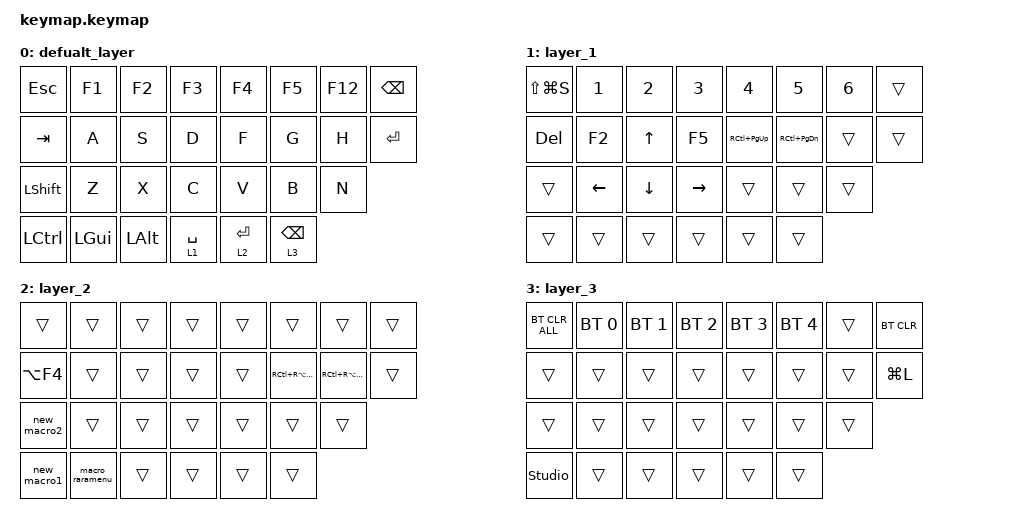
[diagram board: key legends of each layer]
#include <behaviors.dtsi>
#include <dt-bindings/zmk/bt.h>
#include <dt-bindings/zmk/keys.h>

/ {
    keymap {
        compatible = "zmk,keymap";

        defualt_layer {
            bindings = <
&kp ESCAPE        &kp F1        &kp F2        &kp F3       &kp F4       &kp F5           &kp F12  &kp BSPC
&kp TAB           &kp A         &kp S         &kp D        &kp F        &kp G            &kp H    &kp ENTER
&kp LEFT_SHIFT    &kp Z         &kp X         &kp C        &kp V        &kp B            &kp N
&kp LEFT_CONTROL  &kp LEFT_GUI  &kp LEFT_ALT  &lt 1 SPACE  &lt 2 ENTER  &lt 3 BACKSPACE
            >;
        };

        layer_1 {
            bindings = <
&kp LS(LG(S))  &kp NUMBER_1    &kp NUMBER_2    &kp NUMBER_3     &kp NUMBER_4     &kp NUMBER_5       &kp NUMBER_6  &trans
&kp DELETE     &kp F2          &kp UP_ARROW    &kp F5           &kp RC(PAGE_UP)  &kp RC(PAGE_DOWN)  &trans        &trans
&trans         &kp LEFT_ARROW  &kp DOWN_ARROW  &kp RIGHT_ARROW  &trans           &trans             &trans
&trans         &trans          &trans          &trans           &trans           &trans
            >;
        };

        layer_2 {
            bindings = <
&trans       &trans           &trans  &trans  &trans  &trans               &trans                 &trans
&kp LA(F4)   &trans           &trans  &trans  &trans  &kp RC(RA(PAGE_UP))  &kp RC(RA(PAGE_DOWN))  &trans
&new_macro2  &trans           &trans  &trans  &trans  &trans               &trans
&new_macro1  &macro_raramenu  &trans  &trans  &trans  &trans
            >;
        };

        layer_3 {
            bindings = <
&bt BT_CLR_ALL  &bt BT_SEL 0  &bt BT_SEL 1  &bt BT_SEL 2  &bt BT_SEL 3  &bt BT_SEL 4  &trans  &bt BT_CLR
&trans          &trans        &trans        &trans        &trans        &trans        &trans  &kp LG(L)
&trans          &trans        &trans        &trans        &trans        &trans        &trans
&studio_unlock  &trans        &trans        &trans        &trans        &trans
            >;
        };
    };
};
